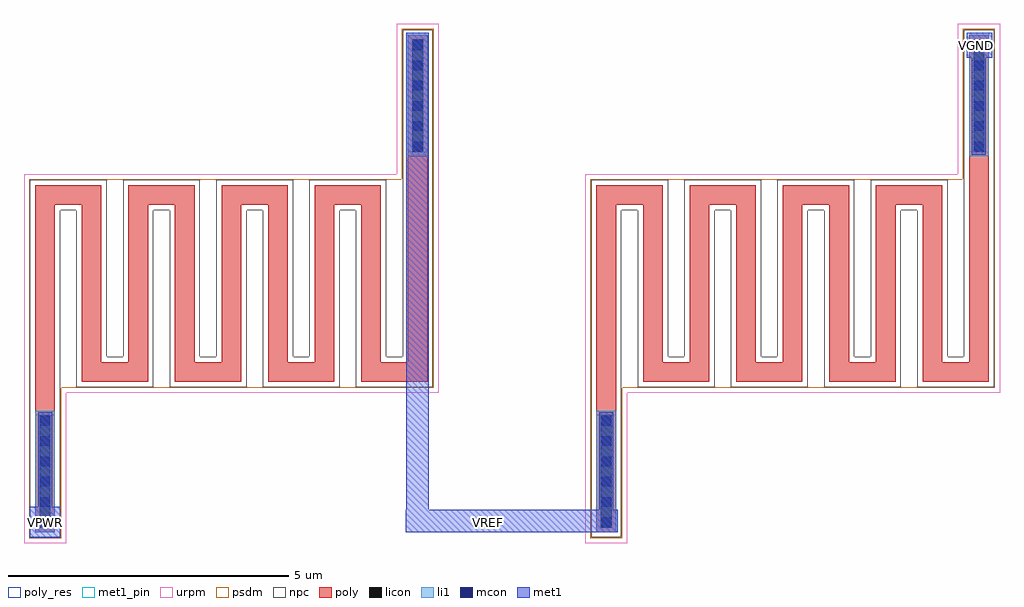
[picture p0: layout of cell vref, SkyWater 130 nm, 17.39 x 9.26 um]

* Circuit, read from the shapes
.subckt vref VGND VPWR
XR1 resleg_0/R1 VPWR VSUBS sky130_fd_pr__res_xhigh_po w=0.35 l=36.42
XR2 VGND resleg_0/R1 VSUBS sky130_fd_pr__res_xhigh_po w=0.35 l=36.42
.ends

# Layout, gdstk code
import gdstk
lib = gdstk.Library(unit=1e-6, precision=1e-09)
def R(c, l, rs):  # rectangles x0, y0, x1, y1
    for r in rs: c.add(gdstk.rectangle(r[:2], r[2:], *l))
def A(c, l, x, y, w, h, nx, ny, dx, dy):  # array of equal rectangles
    R(c, l, [(x+i*dx, y+j*dy, x+i*dx+w, y+j*dy+h) for i in range(nx) for j in range(ny)])
poly_res = (66, 13)
poly = (66, 20)
licon = (66, 44)
li1 = (67, 20)
mcon = (67, 44)
met1_pin = (68, 16)
met1 = (68, 20)
urpm = (79, 20)
psdm = (94, 20)
npc = (95, 20)

resleg = lib.new_cell('resleg')
A(resleg, poly_res, -2.665, -1.75, 1.18, 0.35, 4, 1, 1.66, 0)
A(resleg, poly_res, -2.665, -1.4, 0.35, 2.8, 7, 1, 0.83, 0)
A(resleg, poly_res, -3.495, 1.4, 1.18, 0.35, 4, 1, 1.66, 0)
R(resleg, poly_res, [(-3.495,-2.35,-3.145,1.4), (3.145,-1.4,3.495,2.35)])
A(resleg, poly, -2.665, -1.75, 1.18, 0.35, 4, 1, 1.66, 0)
A(resleg, poly, -2.665, -1.4, 0.35, 2.8, 7, 1, 0.83, 0)
A(resleg, poly, -3.495, 1.4, 1.18, 0.35, 4, 1, 1.66, 0)
R(resleg, poly, [(-3.495,-4.43,-3.145,1.4), (3.145,-1.4,3.495,4.43)])
R(resleg, licon, [(-3.415,-4.35,-3.225,-2.35), (3.225,2.35,3.415,4.35)])
R(resleg, li1, [(-3.495,-4.43,-3.145,-2.27), (3.145,2.27,3.495,4.43)])
A(resleg, mcon, -3.405, -4.335, 0.17, 0.17, 1, 6, 0, 0.36)
A(resleg, mcon, 3.235, 2.36, 0.17, 0.17, 1, 6, 0, 0.36)
R(resleg, met1, [(-3.445,-4.4,-3.195,-2.295), (3.195,2.295,3.445,4.4)])
R(resleg, urpm, [(-3.695,-4.63,-2.945,-1.95), (-3.695,-1.95,3.695,1.95), (2.945,1.95,3.695,4.63)])
R(resleg, psdm, [(-3.605,-4.54,-3.035,-1.86), (-3.605,-1.86,3.605,1.86), (3.035,1.86,3.605,4.54)])
A(resleg, npc, -2.76, -1.845, 1.37, 0.54, 4, 1, 1.66, 0)
A(resleg, npc, -2.76, -1.305, 0.54, 2.61, 7, 1, 0.83, 0)
A(resleg, npc, -3.59, 1.305, 1.37, 0.54, 4, 1, 1.66, 0)
R(resleg, npc, [(-3.59,-4.525,-3.05,1.305), (3.05,-1.305,3.59,4.525)])
resleg.add(gdstk.Label('R1', (-3.32,-4.255), layer=67, texttype=5))
resleg.add(gdstk.Label('R2', (3.32,4.255), layer=67, texttype=5))

vref = lib.new_cell('vref')
R(vref, met1_pin, [(0.1,0.1,0.25,0.25), (8,0.1,8.15,0.25), (16.7,8.6,16.85,8.75)])
R(vref, met1, [(-0.1,-0.1,0.45,0.45), (6.6,0,10.375,0.4), (6.615,0.4,7.015,8.9), (16.6,8.45,17.05,8.9)])
vref.add(gdstk.Reference(resleg, (13.495,4.43)))
vref.add(gdstk.Reference(resleg, (3.495,4.43)))
vref.add(gdstk.Label('VPWR', (0.175,0.175), layer=68, texttype=5))
vref.add(gdstk.Label('VREF', (8.075,0.175), layer=68, texttype=5))
vref.add(gdstk.Label('VGND', (16.775,8.675), layer=68, texttype=5))

lib.write_gds('vref.gds')
